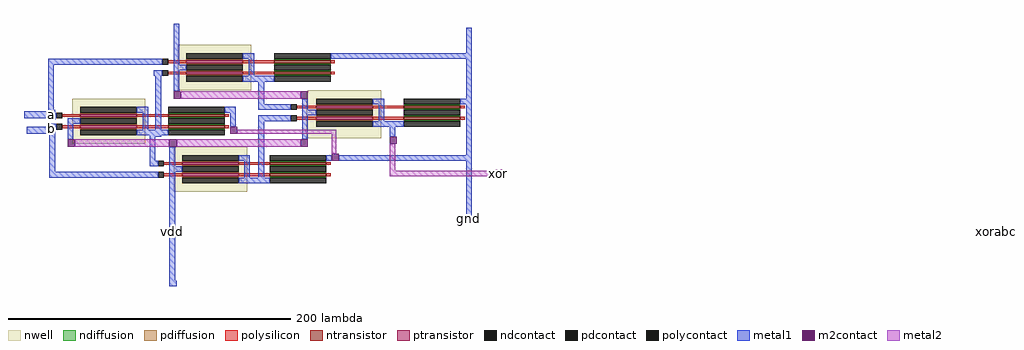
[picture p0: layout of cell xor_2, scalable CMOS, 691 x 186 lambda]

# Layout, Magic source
magic
tech scmos
<< nwell >>
rect 682 681 734 713
rect 774 679 826 681
rect 607 643 659 675
rect 773 647 826 679
rect 679 609 731 641
<< ntransistor >>
rect 750 700 790 702
rect 750 692 790 694
rect 842 668 882 670
rect 675 662 715 664
rect 842 660 882 662
rect 675 654 715 656
rect 747 628 787 630
rect 747 620 787 622
<< ptransistor >>
rect 688 700 728 702
rect 688 692 728 694
rect 780 668 820 670
rect 613 662 653 664
rect 780 660 820 662
rect 613 654 653 656
rect 685 628 725 630
rect 685 620 725 622
<< ndiffusion >>
rect 750 702 790 703
rect 750 699 790 700
rect 750 694 790 695
rect 750 691 790 692
rect 842 670 882 671
rect 675 664 715 665
rect 675 661 715 662
rect 842 667 882 668
rect 842 662 882 663
rect 675 656 715 657
rect 842 659 882 660
rect 675 653 715 654
rect 747 630 787 631
rect 747 627 787 628
rect 747 622 787 623
rect 747 619 787 620
<< pdiffusion >>
rect 688 702 728 703
rect 688 699 728 700
rect 688 694 728 695
rect 688 691 728 692
rect 613 664 653 665
rect 780 670 820 671
rect 780 667 820 668
rect 613 661 653 662
rect 613 656 653 657
rect 780 662 820 663
rect 780 659 820 660
rect 613 653 653 654
rect 685 630 725 631
rect 685 627 725 628
rect 685 622 725 623
rect 685 619 725 620
<< ndcontact >>
rect 750 703 790 707
rect 750 695 790 699
rect 750 687 790 691
rect 675 665 715 669
rect 842 671 882 675
rect 675 657 715 661
rect 842 663 882 667
rect 842 655 882 659
rect 675 649 715 653
rect 747 631 787 635
rect 747 623 787 627
rect 747 615 787 619
<< pdcontact >>
rect 688 703 728 707
rect 688 695 728 699
rect 688 687 728 691
rect 780 671 820 675
rect 613 665 653 669
rect 780 663 820 667
rect 613 657 653 661
rect 780 655 820 659
rect 613 649 653 653
rect 685 631 725 635
rect 685 623 725 627
rect 685 615 725 619
<< polysilicon >>
rect 675 700 688 702
rect 728 700 750 702
rect 790 700 793 702
rect 675 692 688 694
rect 728 692 750 694
rect 790 692 793 694
rect 766 668 780 670
rect 820 668 842 670
rect 882 668 885 670
rect 600 662 613 664
rect 653 662 675 664
rect 715 662 718 664
rect 766 660 780 662
rect 820 660 842 662
rect 882 660 885 662
rect 600 654 613 656
rect 653 654 675 656
rect 715 654 718 656
rect 672 628 685 630
rect 725 628 747 630
rect 787 628 790 630
rect 672 620 685 622
rect 725 620 747 622
rect 787 620 790 622
<< polycontact >>
rect 671 699 675 703
rect 671 691 675 695
rect 596 661 600 665
rect 762 667 766 671
rect 596 653 600 657
rect 762 659 766 663
rect 668 627 672 631
rect 668 619 672 623
<< metal1 >>
rect 590 699 671 703
rect 679 699 683 728
rect 886 707 890 725
rect 728 703 736 707
rect 790 703 890 707
rect 590 667 594 699
rect 679 695 688 699
rect 665 691 671 695
rect 590 666 595 667
rect 573 665 595 666
rect 653 665 661 669
rect 573 661 596 665
rect 590 660 595 661
rect 604 657 613 661
rect 590 655 596 657
rect 575 653 596 655
rect 575 650 595 653
rect 591 623 595 650
rect 604 646 608 657
rect 657 653 661 665
rect 666 653 670 691
rect 679 680 683 695
rect 732 691 736 703
rect 728 687 750 691
rect 739 671 743 687
rect 886 675 890 703
rect 715 665 723 669
rect 739 667 762 671
rect 770 667 774 675
rect 820 671 828 675
rect 882 671 890 675
rect 719 655 723 665
rect 770 663 780 667
rect 739 659 762 663
rect 653 649 675 653
rect 662 648 670 649
rect 662 631 666 648
rect 662 627 668 631
rect 676 627 680 641
rect 725 631 733 635
rect 676 623 685 627
rect 591 619 668 623
rect 676 546 680 623
rect 729 619 733 631
rect 739 619 743 659
rect 770 646 774 663
rect 824 659 828 671
rect 820 655 842 659
rect 832 648 836 655
rect 787 631 791 635
rect 886 635 890 671
rect 796 631 890 635
rect 725 615 747 619
rect 886 588 890 631
rect 676 542 681 546
<< m2contact >>
rect 679 675 684 680
rect 769 675 774 680
rect 719 650 724 655
rect 604 641 609 646
rect 676 641 681 646
rect 769 641 774 646
rect 832 643 837 648
rect 791 631 796 636
<< metal2 >>
rect 684 675 769 680
rect 724 650 794 653
rect 609 641 676 646
rect 681 641 769 646
rect 791 636 794 650
rect 832 624 836 643
rect 907 624 912 625
rect 832 620 912 624
rect 1252 579 1264 583
<< labels >>
rlabel metal1 676 579 680 583 1 vdd
rlabel metal2 907 620 911 624 7 xor
rlabel metal1 886 588 890 592 1 gnd
rlabel metal1 590 650 595 657 3 b
rlabel metal1 590 660 595 667 3 a
rlabel metal2 1259 579 1264 583 7 xorabc
<< end >>
